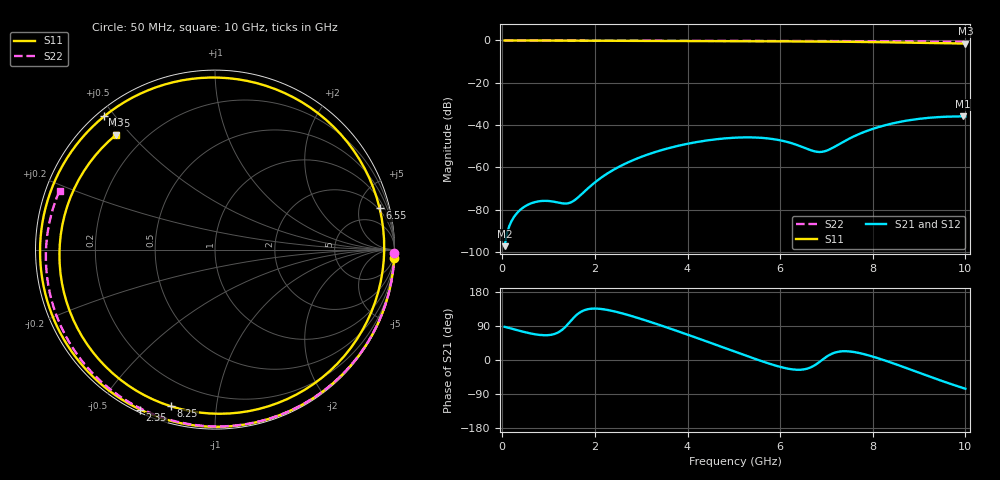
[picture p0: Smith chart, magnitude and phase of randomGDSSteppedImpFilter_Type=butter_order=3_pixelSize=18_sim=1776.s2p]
! freq	dB(S11)	phase(S11)	dB(S12)	phase(S12)
!  dB(S21)	phase(S21)	dB(S22)	phase(S22)
!S-par simulation data
#  GHz  S  DB  R 50
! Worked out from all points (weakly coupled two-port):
!   200 points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, 50 MHz to 10 GHz, reference 50 ohm
!   highest |S21| = -35.88 dB at 9.95 GHz (marker M1); lowest = -97.2 dB at 50 MHz (marker M2)
!   lowest |S11| = -1.5 dB at 10 GHz (marker M3), VSWR 11.86, Z = 5.09 + j22.7 ohm
!   |S11| at or under -10 dB: nowhere
!   |S22| runs from -0.7 to 0.0 dB; largest |S21 - S12| = 0
!   S11 on the Smith chart (normalised r, x): 50 MHz: 1, -44; 2.35 GHz: 0.01, -0.64; 4.75 GHz: 0.02, +0.47; 6.55 GHz: 1.74, +7.63; 8.25 GHz: 0.08, -0.76; 10 GHz: 0.10, +0.45
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0.05  -0.01 -2.6  -97.18 87.5  -97.18 87.5  -0.00 -1.1
0.95  -0.06 -48.4  -75.78 65.4  -75.78 65.4  -0.02 -20.2
1.45  -0.09 -72.9  -76.75 99.2  -76.75 99.2  -0.04 -30.7
1.75  -0.11 -87.2  -71.87 130.3  -71.87 130.3  -0.05 -36.9
2.35  -0.14 -115.1  -61.76 130.2  -61.76 130.2  -0.06 -49.2
3.4  -0.20 -163.1  -52.06 92.2  -52.06 92.2  -0.09 -70.1
4.1  -0.25 163.5  -48.39 62.6  -48.39 62.6  -0.12 -83.6
4.75  -0.30 129.7  -46.38 34.2  -46.38 34.2  -0.14 -95.8
5.05  -0.33 112.8  -45.91 20.9  -45.91 20.9  -0.16 -101.4
5.8  -0.40 66.2  -46.45 -11.0  -46.45 -11.0  -0.20 -115.3
6.55  -0.49 14.2  -50.93 -23.9  -50.93 -23.9  -0.25 -129.2
6.7  -0.50 3.5  -52.12 -17.1  -52.12 -17.1  -0.26 -132.0
7.1  -0.57 -25.2  -51.12 15.5  -51.12 15.5  -0.29 -139.5
7.55  -0.65 -57.2  -45.75 21.9  -45.75 21.9  -0.34 -148.0
7.9  -0.74 -81.6  -42.53 12.5  -42.53 12.5  -0.37 -154.8
8.25  -0.85 -105.6  -40.15 -0.7  -40.15 -0.7  -0.41 -161.8
8.35  -0.88 -112.5  -39.59 -4.9  -39.59 -4.9  -0.42 -163.9
8.8  -1.04 -143.3  -37.64 -24.6  -37.64 -24.6  -0.48 -173.2
9.2  -1.20 -171.3  -36.57 -42.4  -36.57 -42.4  -0.54 178.1
9.55  -1.33 163.7  -36.06 -57.7  -36.06 -57.7  -0.59 170.1
9.95  -1.46 134.4  -35.88 -73.9  -35.88 -73.9  -0.65 160.5
10  -1.47 130.8  -35.88 -75.8  -35.88 -75.8  -0.66 159.2
